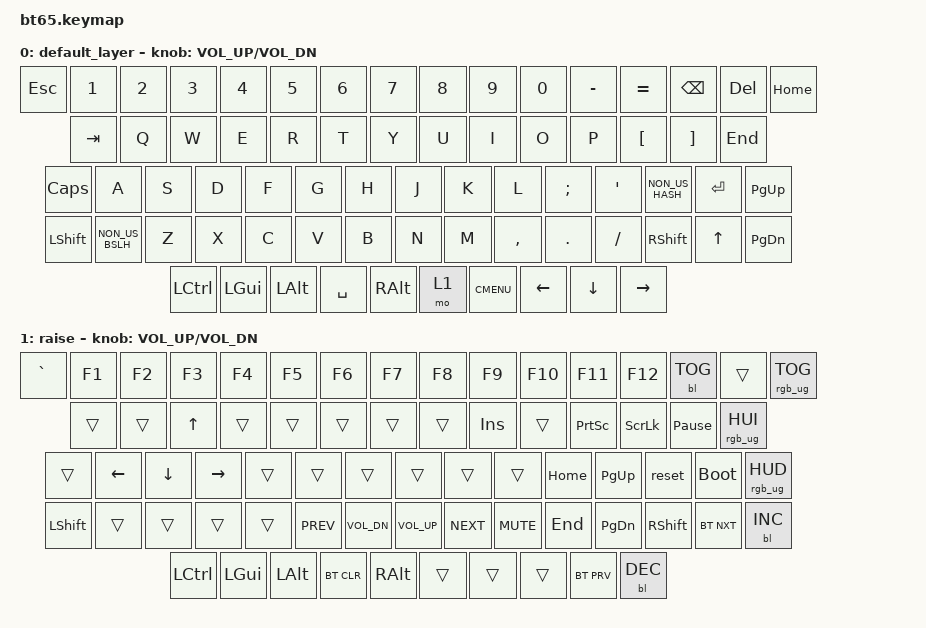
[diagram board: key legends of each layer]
#include <behaviors.dtsi>
#include <dt-bindings/zmk/keys.h>
#include <dt-bindings/zmk/bt.h>
#include <dt-bindings/zmk/rgb.h>
#include <dt-bindings/zmk/backlight.h>
#include <dt-bindings/zmk/ext_power.h>


/ {
	keymap {
		compatible = "zmk,keymap";

		default_layer {
				// ------------------------------------------------------------------------------------------------------------
				// |  `  |  1  |  2  |  3  |  4  |  5  |  6  |  7  |  8  |  9  |  0  |  -  |  =  |BKSP | DEL | HOME		|
				// | TAB  |  Q  |  W  |  E  |  R  |  T  |  Y  |  U  |  I  |  O  |  P  |  [  |  ]  |   		 END		|
				// | CAPS  |  A  |  S  |  D  |  F  |  G  |  H  |  J  |  K  |  L  |  ;  |  '  |  #  |     ENTER    |  PGUP	|
				// |  SHIFT  |  \  |  Z  |  X  |  C  |  V  |  B  |  N  |  M  |  ,  |  .  | /   |   SHIFT  | UP   | PGDN|
				// |  CTL  |  WIN  |  ALT  |            SPACE               | ALT | 1    |  MENU| LEFT |  DOWN    | RIGHT	|
				// ------------------------------------------------------------------------------------------------------------
			bindings = <

				&kp ESC &kp N1 &kp N2 &kp N3 &kp N4 &kp N5 &kp N6 &kp N7 &kp  N8   &kp  N9   &kp N0 &kp MINUS &kp EQUAL &kp BKSP &kp DEL &kp HOME
				&kp TAB  &kp Q  &kp W  &kp E  &kp R  &kp T  &kp Y  &kp U  &kp  I    &kp  O  &kp  P   &kp LBKT &kp RBKT  	 &kp END
				&kp CLCK  &kp A  &kp S  &kp D  &kp F  &kp G  &kp H  &kp J  &kp  K    &kp  L  &kp SEMI &kp SQT &kp NON_US_HASH 	&kp RET &kp PG_UP
				&kp LSHFT &kp NON_US_BSLH &kp Z  &kp X  &kp C  &kp V  &kp B  &kp N  &kp M  &kp COMMA &kp DOT &kp FSLH   &kp RSHFT &kp UP &kp PG_DN
				&kp LCTRL &kp LGUI &kp LALT            &kp SPACE                          &kp RALT  &mo 1 &kp K_CMENU &kp LEFT &kp DOWN &kp RIGHT
			>;
			sensor-bindings = <&inc_dec_kp C_VOL_UP C_VOL_DN>;
		};
		raise {
			bindings = <
				&kp GRAVE &kp F1 &kp F2 &kp F3 &kp F4 &kp F5 &kp F6 &kp F7 &kp  F8   &kp  F9   &kp F10  &kp F11 &kp F12 &bl BL_TOG &trans &rgb_ug RGB_TOG
				&trans &trans &kp UP &trans &trans &trans &trans &trans &kp INS &trans &kp PSCRN &kp SLCK &kp PAUSE_BREAK  &rgb_ug RGB_HUI
				&trans    &kp LEFT &kp DOWN &kp RIGHT &trans &trans &trans &trans &trans &trans &kp HOME  &kp PG_UP &reset  &bootloader &rgb_ug RGB_HUD
				&kp LSHFT &trans &trans &trans &trans &kp C_PREV &kp C_VOL_DN &kp C_VOL_UP &kp C_NEXT &kp C_MUTE &kp END &kp PG_DN &kp RSHFT &bt BT_NXT &bl BL_INC
				&kp LCTRL &kp LGUI  &kp LALT              &bt BT_CLR                            &kp RALT   &trans   &trans  &trans  &bt BT_PRV &bl BL_DEC
			>;
			sensor-bindings = <&inc_dec_kp C_VOL_UP C_VOL_DN>;
		};
	};
};
